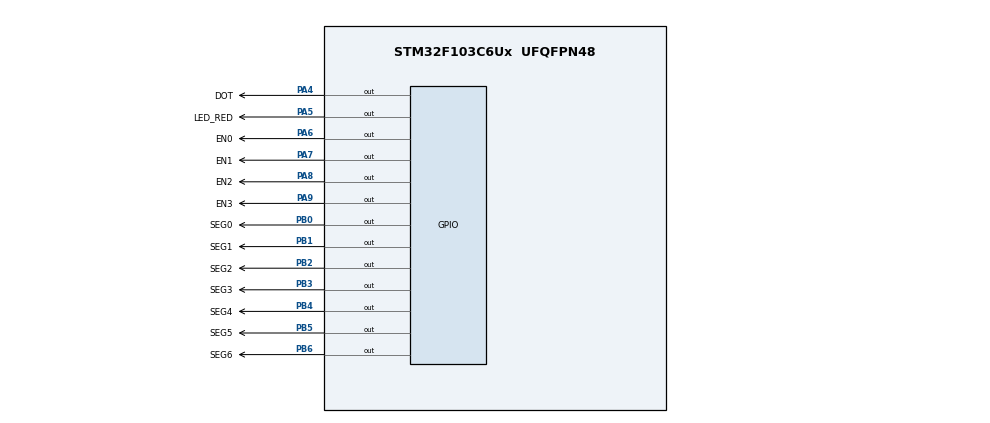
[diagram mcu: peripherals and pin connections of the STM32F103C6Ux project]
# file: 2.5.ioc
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Mcu.Family=STM32F1
Mcu.Name=STM32F103C6Ux
Mcu.Package=UFQFPN48
NVIC.PriorityGroup=NVIC_PRIORITYGROUP_4
NVIC.TIM2_IRQn=true\:0\:0\:false\:false\:true\:true\:true
PA4.GPIO_Label=DOT
PA4.Signal=GPIO_Output
PA5.GPIO_Label=LED_RED
PA5.Signal=GPIO_Output
PA6.GPIO_Label=EN0
PA6.Signal=GPIO_Output
PA7.GPIO_Label=EN1
PA7.Signal=GPIO_Output
PA8.GPIO_Label=EN2
PA8.Signal=GPIO_Output
PA9.GPIO_Label=EN3
PA9.Signal=GPIO_Output
PB0.GPIO_Label=SEG0
PB0.Signal=GPIO_Output
PB1.GPIO_Label=SEG1
PB1.Signal=GPIO_Output
PB2.GPIO_Label=SEG2
PB2.Signal=GPIO_Output
PB3.GPIO_Label=SEG3
PB3.Signal=GPIO_Output
PB4.GPIO_Label=SEG4
PB4.Signal=GPIO_Output
PB5.GPIO_Label=SEG5
PB5.Signal=GPIO_Output
PB6.GPIO_Label=SEG6
PB6.Signal=GPIO_Output
ProjectManager.HeapSize=0x200
ProjectManager.StackSize=0x400
ProjectManager.TargetToolchain=STM32CubeIDE
RCC.APB1Freq_Value=8000000
RCC.APB2Freq_Value=8000000
TIM2.Period=1
TIM2.Prescaler=7999
VP_SYS_VS_ND.Mode=No_Debug
VP_TIM2_VS_ClockSourceINT.Mode=Internal
board=custom

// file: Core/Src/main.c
/* USER CODE BEGIN Header */
/**
  ******************************************************************************
  * @file           : main.c
  * @brief          : Main program body
  ******************************************************************************
  * @attention
  *
  * <h2><center>&copy; Copyright (c) 2023 STMicroelectronics.
  * All rights reserved.</center></h2>
  *
  * This software component is licensed by ST under BSD 3-Clause license,
  * the "License"; You may not use this file except in compliance with the
  * License. You may obtain a copy of the License at:
  *                        opensource.org/licenses/BSD-3-Clause
  *
  ******************************************************************************
  */
/* USER CODE END Header */
#include "main.h"

/* USER CODE BEGIN Includes */
#include "global.h"
#include "software_timer.h"
/* USER CODE END Includes */

TIM_HandleTypeDef htim2;

void SystemClock_Config(void);
static void MX_GPIO_Init(void);
static void MX_TIM2_Init(void);

/* USER CODE BEGIN 0 */
void display7SEG(int num){
	switch(num){
		case 0:
			  HAL_GPIO_WritePin(SEG0_GPIO_Port, SEG0_Pin, RESET);
			  HAL_GPIO_WritePin(SEG1_GPIO_Port, SEG1_Pin, RESET);
			  HAL_GPIO_WritePin(SEG2_GPIO_Port, SEG2_Pin, RESET);
			  HAL_GPIO_WritePin(SEG3_GPIO_Port, SEG3_Pin, RESET);
			  HAL_GPIO_WritePin(SEG4_GPIO_Port, SEG4_Pin, RESET);
			  HAL_GPIO_WritePin(SEG5_GPIO_Port, SEG5_Pin, RESET);
			  HAL_GPIO_WritePin(SEG6_GPIO_Port, SEG6_Pin, SET);
			break;
		case 1:
			  HAL_GPIO_WritePin(SEG0_GPIO_Port, SEG0_Pin, SET);
			  HAL_GPIO_WritePin(SEG1_GPIO_Port, SEG1_Pin, RESET);
			  HAL_GPIO_WritePin(SEG2_GPIO_Port, SEG2_Pin, RESET);
			  HAL_GPIO_WritePin(SEG3_GPIO_Port, SEG3_Pin, SET);
			  HAL_GPIO_WritePin(SEG4_GPIO_Port, SEG4_Pin, SET);
			  HAL_GPIO_WritePin(SEG5_GPIO_Port, SEG5_Pin, SET);
			  HAL_GPIO_WritePin(SEG6_GPIO_Port, SEG6_Pin, SET);
			break;
		case 2:
		      HAL_GPIO_WritePin(SEG0_GPIO_Port, SEG0_Pin, RESET);
			  HAL_GPIO_WritePin(SEG1_GPIO_Port, SEG1_Pin, RESET);
			  HAL_GPIO_WritePin(SEG2_GPIO_Port, SEG2_Pin, SET);
			  HAL_GPIO_WritePin(SEG3_GPIO_Port, SEG3_Pin, RESET);
			  HAL_GPIO_WritePin(SEG4_GPIO_Port, SEG4_Pin, RESET);
			  HAL_GPIO_WritePin(SEG5_GPIO_Port, SEG5_Pin, SET);
			  HAL_GPIO_WritePin(SEG6_GPIO_Port, SEG6_Pin, RESET);
			break;
		case 3:
			  HAL_GPIO_WritePin(SEG0_GPIO_Port, SEG0_Pin, RESET);
			  HAL_GPIO_WritePin(SEG1_GPIO_Port, SEG1_Pin, RESET);
			  HAL_GPIO_WritePin(SEG2_GPIO_Port, SEG2_Pin, RESET);
			  HAL_GPIO_WritePin(SEG3_GPIO_Port, SEG3_Pin, RESET);
			  HAL_GPIO_WritePin(SEG4_GPIO_Port, SEG4_Pin, SET);
			  HAL_GPIO_WritePin(SEG5_GPIO_Port, SEG5_Pin, SET);
			  HAL_GPIO_WritePin(SEG6_GPIO_Port, SEG6_Pin, RESET);
			break;
		case 4:
			  HAL_GPIO_WritePin(SEG0_GPIO_Port, SEG0_Pin, SET);
			  HAL_GPIO_WritePin(SEG1_GPIO_Port, SEG1_Pin, RESET);
			  HAL_GPIO_WritePin(SEG2_GPIO_Port, SEG2_Pin, RESET);
			  HAL_GPIO_WritePin(SEG3_GPIO_Port, SEG3_Pin, SET);
			  HAL_GPIO_WritePin(SEG4_GPIO_Port, SEG4_Pin, SET);
			  HAL_GPIO_WritePin(SEG5_GPIO_Port, SEG5_Pin, RESET);
			  HAL_GPIO_WritePin(SEG6_GPIO_Port, SEG6_Pin, RESET);
			break;
		case 5:
			  HAL_GPIO_WritePin(SEG0_GPIO_Port, SEG0_Pin, RESET);
			  HAL_GPIO_WritePin(SEG1_GPIO_Port, SEG1_Pin, SET);
			  HAL_GPIO_WritePin(SEG2_GPIO_Port, SEG2_Pin, RESET);
			  HAL_GPIO_WritePin(SEG3_GPIO_Port, SEG3_Pin, RESET);
			  HAL_GPIO_WritePin(SEG4_GPIO_Port, SEG4_Pin, SET);
			  HAL_GPIO_WritePin(SEG5_GPIO_Port, SEG5_Pin, RESET);
			  HAL_GPIO_WritePin(SEG6_GPIO_Port, SEG6_Pin, RESET);
			break;
		case 6:
			  HAL_GPIO_WritePin(SEG0_GPIO_Port, SEG0_Pin, RESET);
			  HAL_GPIO_WritePin(SEG1_GPIO_Port, SEG1_Pin, SET);
			  HAL_GPIO_WritePin(SEG2_GPIO_Port, SEG2_Pin, RESET);
			  HAL_GPIO_WritePin(SEG3_GPIO_Port, SEG3_Pin, RESET);
			  HAL_GPIO_WritePin(SEG4_GPIO_Port, SEG4_Pin, RESET);
			  HAL_GPIO_WritePin(SEG5_GPIO_Port, SEG5_Pin, RESET);
			  HAL_GPIO_WritePin(SEG6_GPIO_Port, SEG6_Pin, RESET);
			break;
		case 7:
			  HAL_GPIO_WritePin(SEG0_GPIO_Port, SEG0_Pin, RESET);
			  HAL_GPIO_WritePin(SEG1_GPIO_Port, SEG1_Pin, RESET);
			  HAL_GPIO_WritePin(SEG2_GPIO_Port, SEG2_Pin, RESET);
			  HAL_GPIO_WritePin(SEG3_GPIO_Port, SEG3_Pin, SET);
			  HAL_GPIO_WritePin(SEG4_GPIO_Port, SEG4_Pin, SET);
			  HAL_GPIO_WritePin(SEG5_GPIO_Port, SEG5_Pin, SET);
			  HAL_GPIO_WritePin(SEG6_GPIO_Port, SEG6_Pin, SET);
			break;
		case 8:
			  HAL_GPIO_WritePin(SEG0_GPIO_Port, SEG0_Pin, RESET);
			  HAL_GPIO_WritePin(SEG1_GPIO_Port, SEG1_Pin, RESET);
			  HAL_GPIO_WritePin(SEG2_GPIO_Port, SEG2_Pin, RESET);
			  HAL_GPIO_WritePin(SEG3_GPIO_Port, SEG3_Pin, RESET);
			  HAL_GPIO_WritePin(SEG4_GPIO_Port, SEG4_Pin, RESET);
			  HAL_GPIO_WritePin(SEG5_GPIO_Port, SEG5_Pin, RESET);
			  HAL_GPIO_WritePin(SEG6_GPIO_Port, SEG6_Pin, RESET);
			break;
		case 9:
			  HAL_GPIO_WritePin(SEG0_GPIO_Port, SEG0_Pin, RESET);
			  HAL_GPIO_WritePin(SEG1_GPIO_Port, SEG1_Pin, RESET);
		      HAL_GPIO_WritePin(SEG2_GPIO_Port, SEG2_Pin, RESET);
		      HAL_GPIO_WritePin(SEG3_GPIO_Port, SEG3_Pin, RESET);
		      HAL_GPIO_WritePin(SEG4_GPIO_Port, SEG4_Pin, SET);
		      HAL_GPIO_WritePin(SEG5_GPIO_Port, SEG5_Pin, RESET);
		      HAL_GPIO_WritePin(SEG6_GPIO_Port, SEG6_Pin, RESET);
			break;
		default:
			break;
	}
}
void update7SEG ( int index ){
	display7SEG(led_buffer[index]);
	switch(index){
		case 0:
			HAL_GPIO_WritePin(EN0_GPIO_Port, EN0_Pin, RESET);
			HAL_GPIO_WritePin(EN1_GPIO_Port, EN1_Pin, SET);
			HAL_GPIO_WritePin(EN2_GPIO_Port, EN2_Pin, SET);
			HAL_GPIO_WritePin(EN3_GPIO_Port, EN3_Pin, SET);
			break;
		case 1:
			HAL_GPIO_WritePin(EN0_GPIO_Port, EN0_Pin, SET);
			HAL_GPIO_WritePin(EN1_GPIO_Port, EN1_Pin, RESET);
			HAL_GPIO_WritePin(EN2_GPIO_Port, EN2_Pin, SET);
			HAL_GPIO_WritePin(EN3_GPIO_Port, EN3_Pin, SET);
			break;
		case 2:
			HAL_GPIO_WritePin(EN0_GPIO_Port, EN0_Pin, SET);
			HAL_GPIO_WritePin(EN1_GPIO_Port, EN1_Pin, SET);
			HAL_GPIO_WritePin(EN2_GPIO_Port, EN2_Pin, RESET);
			HAL_GPIO_WritePin(EN3_GPIO_Port, EN3_Pin, SET);
			break;
		case 3:
			HAL_GPIO_WritePin(EN0_GPIO_Port, EN0_Pin, SET);
			HAL_GPIO_WritePin(EN1_GPIO_Port, EN1_Pin, SET);
			HAL_GPIO_WritePin(EN2_GPIO_Port, EN2_Pin, SET);
			HAL_GPIO_WritePin(EN3_GPIO_Port, EN3_Pin, RESET);
			break;
		default:
			break;
	}
}
void updateClockBuffer(int sec, int min, int hou){
	led_buffer[0] = hou / 10;
	led_buffer[1] = hou % 10;
	led_buffer[2] = min / 10;
	led_buffer[3] = min % 10;
	update7SEG(index_led++);
	if(index_led == 4) index_led = 0;
}
/* USER CODE END 0 */

int main(void)
{

  /* MCU Configuration--------------------------------------------------------*/

  /* Reset of all peripherals, Initializes the Flash interface and the Systick. */
  HAL_Init();

  /* Configure the system clock */
  SystemClock_Config();

  /* Initialize all configured peripherals */
  MX_GPIO_Init();
  MX_TIM2_Init();
  /* USER CODE BEGIN 2 */
  HAL_TIM_Base_Start_IT(&htim2);
  /* USER CODE END 2 */

  /* Infinite loop */
  /* USER CODE BEGIN WHILE */
  setTimer0(10000);
  hour = 15, minute = 8, second = 50;
  while (1)
  {
    /* USER CODE END WHILE */

    /* USER CODE BEGIN 3 */
	  if(timer0_flag){
		  if(second >= 60){
			  minute++;
			  second = 0;
		  }
		  if(minute >= 60){
			  hour++;
			  minute = 0;
		  }
		  if(hour >= 24){
			  hour = 0;
		  }
		  updateClockBuffer(second, minute, hour);
		  HAL_GPIO_TogglePin(DOT_GPIO_Port, DOT_Pin);
		  second++;
		  setTimer0(10000);
	  }
  }
  /* USER CODE END 3 */
}

void SystemClock_Config(void)
{
  RCC_OscInitTypeDef RCC_OscInitStruct = {0};
  RCC_ClkInitTypeDef RCC_ClkInitStruct = {0};

  /** Initializes the RCC Oscillators according to the specified parameters
  * in the RCC_OscInitTypeDef structure.
  */
  RCC_OscInitStruct.OscillatorType = RCC_OSCILLATORTYPE_HSI;
  RCC_OscInitStruct.HSIState = RCC_HSI_ON;
  RCC_OscInitStruct.HSICalibrationValue = RCC_HSICALIBRATION_DEFAULT;
  RCC_OscInitStruct.PLL.PLLState = RCC_PLL_NONE;
  if (HAL_RCC_OscConfig(&RCC_OscInitStruct) != HAL_OK)
  {
    Error_Handler();
  }
  /** Initializes the CPU, AHB and APB buses clocks
  */
  RCC_ClkInitStruct.ClockType = RCC_CLOCKTYPE_HCLK|RCC_CLOCKTYPE_SYSCLK
                              |RCC_CLOCKTYPE_PCLK1|RCC_CLOCKTYPE_PCLK2;
  RCC_ClkInitStruct.SYSCLKSource = RCC_SYSCLKSOURCE_HSI;
  RCC_ClkInitStruct.AHBCLKDivider = RCC_SYSCLK_DIV1;
  RCC_ClkInitStruct.APB1CLKDivider = RCC_HCLK_DIV1;
  RCC_ClkInitStruct.APB2CLKDivider = RCC_HCLK_DIV1;

  if (HAL_RCC_ClockConfig(&RCC_ClkInitStruct, FLASH_LATENCY_0) != HAL_OK)
  {
    Error_Handler();
  }
}

static void MX_TIM2_Init(void)
{

  TIM_ClockConfigTypeDef sClockSourceConfig = {0};
  TIM_MasterConfigTypeDef sMasterConfig = {0};

  htim2.Instance = TIM2;
  htim2.Init.Prescaler = 7999;
  htim2.Init.CounterMode = TIM_COUNTERMODE_UP;
  htim2.Init.Period = 1;
  htim2.Init.ClockDivision = TIM_CLOCKDIVISION_DIV1;
  htim2.Init.AutoReloadPreload = TIM_AUTORELOAD_PRELOAD_DISABLE;
  if (HAL_TIM_Base_Init(&htim2) != HAL_OK)
  {
    Error_Handler();
  }
  sClockSourceConfig.ClockSource = TIM_CLOCKSOURCE_INTERNAL;
  if (HAL_TIM_ConfigClockSource(&htim2, &sClockSourceConfig) != HAL_OK)
  {
    Error_Handler();
  }
  sMasterConfig.MasterOutputTrigger = TIM_TRGO_RESET;
  sMasterConfig.MasterSlaveMode = TIM_MASTERSLAVEMODE_DISABLE;
  if (HAL_TIMEx_MasterConfigSynchronization(&htim2, &sMasterConfig) != HAL_OK)
  {
    Error_Handler();
  }

}

static void MX_GPIO_Init(void)
{
  GPIO_InitTypeDef GPIO_InitStruct = {0};

  /* GPIO Ports Clock Enable */
  __HAL_RCC_GPIOA_CLK_ENABLE();
  __HAL_RCC_GPIOB_CLK_ENABLE();

  /*Configure GPIO pin Output Level */
  HAL_GPIO_WritePin(GPIOA, DOT_Pin|LED_RED_Pin|EN0_Pin|EN1_Pin
                          |EN2_Pin|EN3_Pin, GPIO_PIN_RESET);

  /*Configure GPIO pin Output Level */
  HAL_GPIO_WritePin(GPIOB, SEG0_Pin|SEG1_Pin|SEG2_Pin|SEG3_Pin
                          |SEG4_Pin|SEG5_Pin|SEG6_Pin, GPIO_PIN_RESET);

  /*Configure GPIO pins : DOT_Pin LED_RED_Pin EN0_Pin EN1_Pin
                           EN2_Pin EN3_Pin */
  GPIO_InitStruct.Pin = DOT_Pin|LED_RED_Pin|EN0_Pin|EN1_Pin
                          |EN2_Pin|EN3_Pin;
  GPIO_InitStruct.Mode = GPIO_MODE_OUTPUT_PP;
  GPIO_InitStruct.Pull = GPIO_NOPULL;
  GPIO_InitStruct.Speed = GPIO_SPEED_FREQ_LOW;
  HAL_GPIO_Init(GPIOA, &GPIO_InitStruct);

  /*Configure GPIO pins : SEG0_Pin SEG1_Pin SEG2_Pin SEG3_Pin
                           SEG4_Pin SEG5_Pin SEG6_Pin */
  GPIO_InitStruct.Pin = SEG0_Pin|SEG1_Pin|SEG2_Pin|SEG3_Pin
                          |SEG4_Pin|SEG5_Pin|SEG6_Pin;
  GPIO_InitStruct.Mode = GPIO_MODE_OUTPUT_PP;
  GPIO_InitStruct.Pull = GPIO_NOPULL;
  GPIO_InitStruct.Speed = GPIO_SPEED_FREQ_LOW;
  HAL_GPIO_Init(GPIOB, &GPIO_InitStruct);

}

/* USER CODE BEGIN 4 */
void HAL_TIM_PeriodElapsedCallback(TIM_HandleTypeDef *htim){
	timer_run();
}
/* USER CODE END 4 */

void Error_Handler(void)
{
  __disable_irq();
  while (1)
  {
  }
}

/************************ (C) COPYRIGHT STMicroelectronics *****END OF FILE****/
